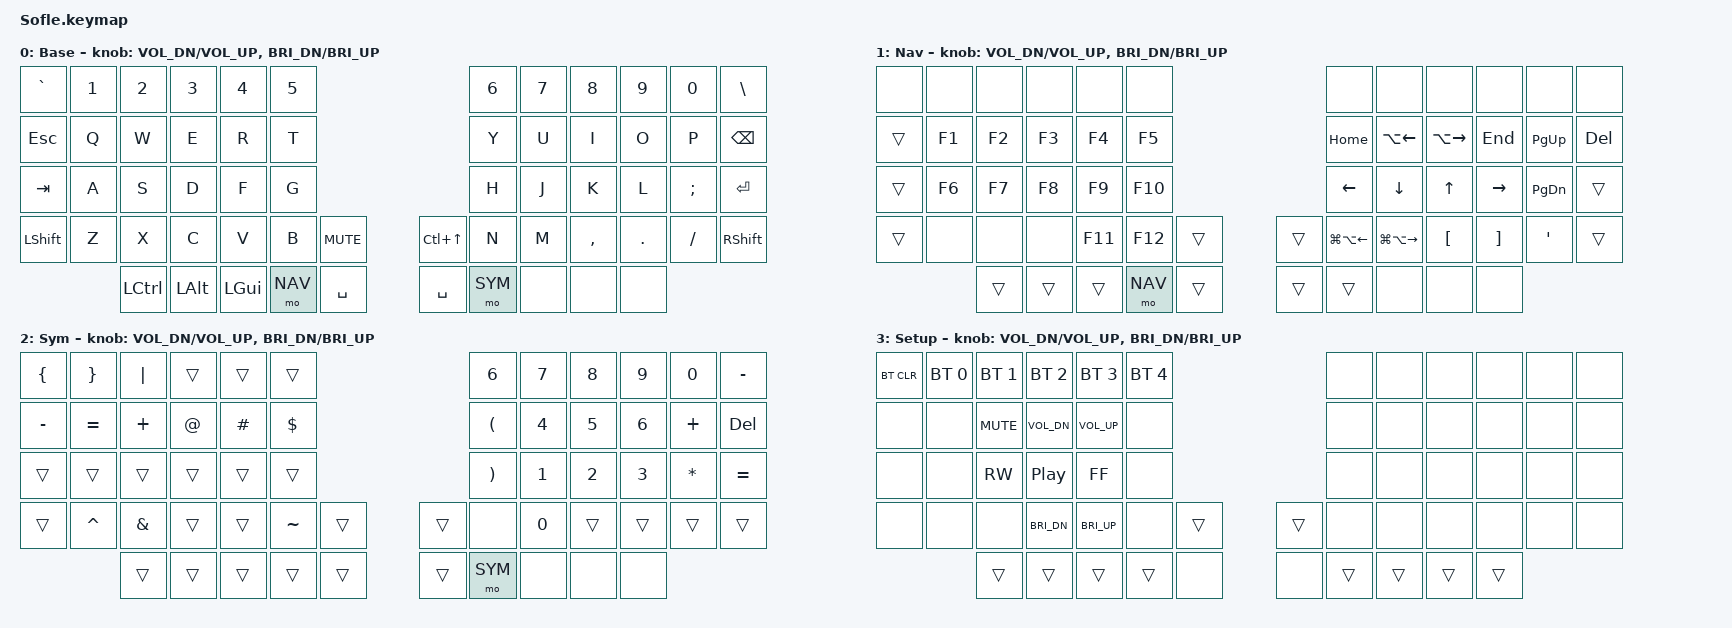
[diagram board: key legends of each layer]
/*
 * Copyright (c) 2020 The ZMK Contributors
 *
 * SPDX-License-Identifier: MIT
 */

#include <behaviors.dtsi>
#include <dt-bindings/zmk/keys.h>
#include <dt-bindings/zmk/bt.h>

#define BASE 0
#define NAV 1
#define SYM 2
#define SETUP 3

/ {
    conditional_layers {
        compatible = "zmk,conditional-layers";
        setup_layer {
            if-layers = <NAV SYM>;
            then-layer = <SETUP>;
        };
    };

    keymap {
        compatible = "zmk,keymap";

        base_layer {
            display-name = "Base";
            bindings = <
&kp GRAVE  &kp N1   &kp N2   &kp N3   &kp N4    &kp N5                                     &kp N6 &kp N7    &kp N8    &kp N9   &kp N0   &kp BACKSLASH
&kp ESC &kp Q    &kp W    &kp E    &kp R     &kp T                                      &kp Y  &kp U     &kp I     &kp O    &kp P    &kp BACKSPACE
&kp TAB    &kp A    &kp S    &kp D    &kp F     &kp G                                      &kp H  &kp J     &kp K     &kp L    &kp SEMI &kp RETURN
&kp LSHFT  &kp Z    &kp X    &kp C    &kp V     &kp B      &kp C_MUTE &kp LC(UP)             &kp N  &kp M     &kp COMMA &kp DOT  &kp SLASH &kp RSHFT
                  &kp LCTRL &kp LALT &kp LGUI &mo NAV &kp SPACE              &kp SPACE  &mo SYM &none    &none     &none
            >;

            sensor-bindings = <&inc_dec_kp C_VOL_DN C_VOL_UP &inc_dec_kp C_BRI_DN C_BRI_UP>;
        };

        nav_layer {
            display-name = "Nav";
            bindings = <
&none     &none     &none     &none     &none     &none                                      &none     &none            &none             &none      &none     &none
&trans    &kp F1    &kp F2    &kp F3    &kp F4    &kp F5                                     &kp HOME  &kp LA(LEFT)     &kp LA(RIGHT)     &kp END    &kp PG_UP &kp DEL
&trans    &kp F6    &kp F7    &kp F8    &kp F9    &kp F10                                    &kp LEFT  &kp DOWN         &kp UP            &kp RIGHT  &kp PG_DN &trans
&trans    &none     &none     &none     &kp F11   &kp F12     &trans &trans                  &kp LG(LA(LEFT))  &kp LG(LA(RIGHT))  &kp LBKT  &kp RBKT  &kp SINGLE_QUOTE  &trans
                  &trans    &trans    &trans    &mo NAV &trans              &trans    &trans    &none     &none     &none
            >;

            sensor-bindings = <&inc_dec_kp C_VOL_DN C_VOL_UP &inc_dec_kp C_BRI_DN C_BRI_UP>;
        };

        sym_layer {
            display-name = "Sym";
            bindings = <
&kp LBRC  &kp RBRC  &kp PIPE  &trans    &trans    &trans                                      &kp N6    &kp N7    &kp N8    &kp N9    &kp N0    &kp MINUS
&kp MINUS &kp EQUAL &kp PLUS  &kp AT_SIGN &kp HASH  &kp DOLLAR                                  &kp LPAR  &kp N4    &kp N5    &kp N6    &kp PLUS  &kp DEL
&trans    &trans    &trans    &trans    &trans    &trans                                      &kp RPAR  &kp N1    &kp N2    &kp N3    &kp ASTERISK &kp EQUAL
&trans    &kp CARET &kp AMPS &trans    &trans    &kp TILDE     &trans &trans                &none     &kp N0    &trans    &trans    &trans    &trans
                  &trans    &trans    &trans    &trans    &trans               &trans    &mo SYM &none     &none     &none
            >;

            sensor-bindings = <&inc_dec_kp C_VOL_DN C_VOL_UP &inc_dec_kp C_BRI_DN C_BRI_UP>;
        };

        setup_layer {
            display-name = "Setup";
            bindings = <
&bt BT_CLR &bt BT_SEL 0 &bt BT_SEL 1 &bt BT_SEL 2 &bt BT_SEL 3 &bt BT_SEL 4                  &none &none &none &none &none &none
&none     &none       &kp C_MUTE &kp C_VOL_DN &kp C_VOL_UP &none                              &none &none &none &none &none &none
&none     &none       &kp C_RW   &kp C_PP     &kp C_FF     &none                              &none &none &none &none &none &none
&none     &none       &none     &kp C_BRI_DN &kp C_BRI_UP &none      &trans &trans          &none &none &none &none &none &none
                  &trans    &trans    &trans    &trans    &none                &none    &trans    &trans    &trans    &trans
            >;

            sensor-bindings = <&inc_dec_kp C_VOL_DN C_VOL_UP &inc_dec_kp C_BRI_DN C_BRI_UP>;
        };

        extra1 {
            status = "reserved";
        };
        extra2 {
            status = "reserved";
        };
        extra3 {
            status = "reserved";
        };
        extra4 {
            status = "reserved";
        };
    };
};
